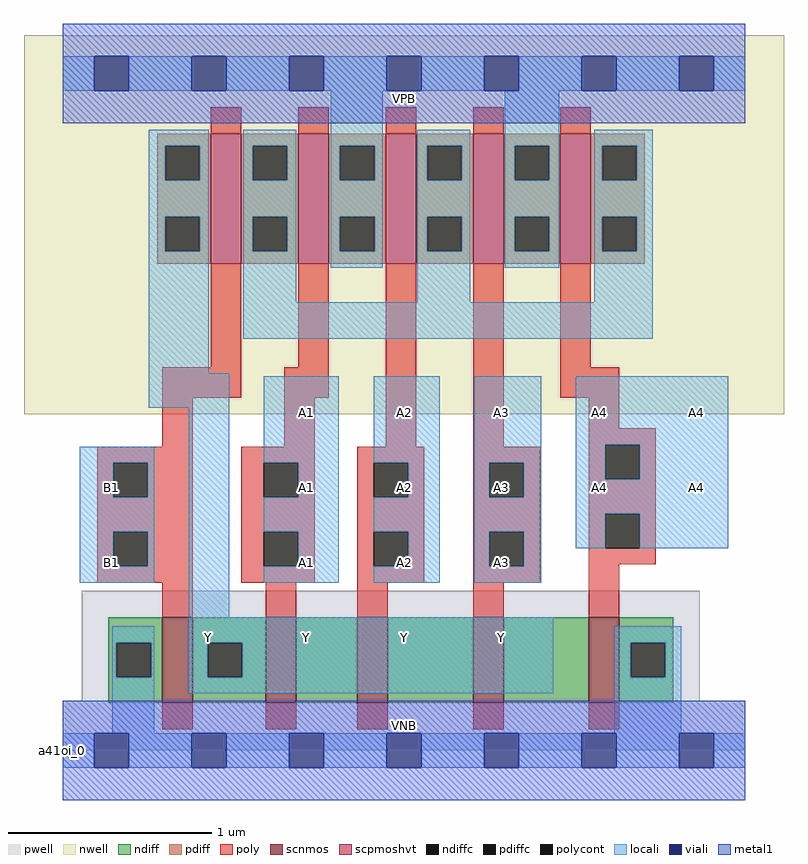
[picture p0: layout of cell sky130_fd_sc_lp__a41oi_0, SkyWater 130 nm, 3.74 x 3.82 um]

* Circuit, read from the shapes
.subckt sky130_fd_sc_lp__a41oi_0 A1 A2 A3 A4 B1 VGND VNB VPB VPWR Y
XM1 Y B1 VGND VNB sky130_fd_pr__nfet_01v8 w=0.42 l=0.15
XM2 n1 A1 Y VNB sky130_fd_pr__nfet_01v8 w=0.42 l=0.15
XM3 n2 A2 n1 VNB sky130_fd_pr__nfet_01v8 w=0.42 l=0.15
XM4 n3 A3 n2 VNB sky130_fd_pr__nfet_01v8 w=0.42 l=0.15
XM5 VGND A4 n3 VNB sky130_fd_pr__nfet_01v8 w=0.42 l=0.15
XM6 n4 B1 Y VPB sky130_fd_pr__pfet_01v8_hvt w=0.64 l=0.15
XM7 VPWR A1 n4 VPB sky130_fd_pr__pfet_01v8_hvt w=0.64 l=0.15
XM8 n4 A2 VPWR VPB sky130_fd_pr__pfet_01v8_hvt w=0.64 l=0.15
XM9 VPWR A3 n4 VPB sky130_fd_pr__pfet_01v8_hvt w=0.64 l=0.15
XM10 n4 A4 VPWR VPB sky130_fd_pr__pfet_01v8_hvt w=0.64 l=0.15
.ends

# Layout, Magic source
magic
tech sky130A
magscale 1 2
<< nwell >>
rect -38 331 710 704
<< pwell >>
rect 19 49 627 157
rect 0 0 672 49
<< scnmos >>
rect 98 47 128 131
rect 200 47 230 131
rect 290 47 320 131
rect 404 47 434 131
rect 518 47 548 131
<< scpmoshvt >>
rect 146 479 176 607
rect 232 479 262 607
rect 318 479 348 607
rect 404 479 434 607
rect 490 479 520 607
<< ndiff >>
rect 45 106 98 131
rect 45 72 53 106
rect 87 72 98 106
rect 45 47 98 72
rect 128 106 200 131
rect 128 72 143 106
rect 177 72 200 106
rect 128 47 200 72
rect 230 47 290 131
rect 320 47 404 131
rect 434 47 518 131
rect 548 106 601 131
rect 548 72 559 106
rect 593 72 601 106
rect 548 47 601 72
<< pdiff >>
rect 93 595 146 607
rect 93 561 101 595
rect 135 561 146 595
rect 93 525 146 561
rect 93 491 101 525
rect 135 491 146 525
rect 93 479 146 491
rect 176 595 232 607
rect 176 561 187 595
rect 221 561 232 595
rect 176 525 232 561
rect 176 491 187 525
rect 221 491 232 525
rect 176 479 232 491
rect 262 595 318 607
rect 262 561 273 595
rect 307 561 318 595
rect 262 525 318 561
rect 262 491 273 525
rect 307 491 318 525
rect 262 479 318 491
rect 348 595 404 607
rect 348 561 359 595
rect 393 561 404 595
rect 348 525 404 561
rect 348 491 359 525
rect 393 491 404 525
rect 348 479 404 491
rect 434 595 490 607
rect 434 561 445 595
rect 479 561 490 595
rect 434 525 490 561
rect 434 491 445 525
rect 479 491 490 525
rect 434 479 490 491
rect 520 595 573 607
rect 520 561 531 595
rect 565 561 573 595
rect 520 525 573 561
rect 520 491 531 525
rect 565 491 573 525
rect 520 479 573 491
<< ndiffc >>
rect 53 72 87 106
rect 143 72 177 106
rect 559 72 593 106
<< pdiffc >>
rect 101 561 135 595
rect 101 491 135 525
rect 187 561 221 595
rect 187 491 221 525
rect 273 561 307 595
rect 273 491 307 525
rect 359 561 393 595
rect 359 491 393 525
rect 445 561 479 595
rect 445 491 479 525
rect 531 561 565 595
rect 531 491 565 525
<< poly >>
rect 146 607 176 633
rect 232 607 262 633
rect 318 607 348 633
rect 404 607 434 633
rect 490 607 520 633
rect 146 377 176 479
rect 232 377 262 479
rect 98 347 176 377
rect 218 347 262 377
rect 98 299 128 347
rect 218 299 248 347
rect 318 299 348 479
rect 404 299 434 479
rect 490 377 520 479
rect 490 347 548 377
rect 518 317 548 347
rect 518 301 584 317
rect 34 283 128 299
rect 34 249 50 283
rect 84 249 128 283
rect 34 215 128 249
rect 34 181 50 215
rect 84 181 128 215
rect 34 165 128 181
rect 176 283 248 299
rect 176 249 198 283
rect 232 249 248 283
rect 176 215 248 249
rect 176 181 198 215
rect 232 181 248 215
rect 176 165 248 181
rect 290 283 356 299
rect 290 249 306 283
rect 340 249 356 283
rect 290 215 356 249
rect 290 181 306 215
rect 340 181 356 215
rect 290 165 356 181
rect 404 283 470 299
rect 404 249 420 283
rect 454 249 470 283
rect 404 215 470 249
rect 404 181 420 215
rect 454 181 470 215
rect 404 165 470 181
rect 518 267 534 301
rect 568 267 584 301
rect 518 233 584 267
rect 518 199 534 233
rect 568 199 584 233
rect 518 183 584 199
rect 98 131 128 165
rect 200 131 230 165
rect 290 131 320 165
rect 404 131 434 165
rect 518 131 548 183
rect 98 21 128 47
rect 200 21 230 47
rect 290 21 320 47
rect 404 21 434 47
rect 518 21 548 47
<< polycont >>
rect 50 249 84 283
rect 50 181 84 215
rect 198 249 232 283
rect 198 181 232 215
rect 306 249 340 283
rect 306 181 340 215
rect 420 249 454 283
rect 420 181 454 215
rect 534 267 568 301
rect 534 199 568 233
<< locali >>
rect 0 649 31 683
rect 65 649 127 683
rect 161 649 223 683
rect 257 649 319 683
rect 353 649 415 683
rect 449 649 511 683
rect 545 649 607 683
rect 641 649 672 683
rect 85 595 144 611
rect 85 561 101 595
rect 135 561 144 595
rect 85 525 144 561
rect 85 491 101 525
rect 135 491 144 525
rect 85 371 144 491
rect 178 595 230 611
rect 178 561 187 595
rect 221 561 230 595
rect 178 525 230 561
rect 178 491 187 525
rect 221 491 230 525
rect 178 441 230 491
rect 264 595 315 649
rect 264 561 273 595
rect 307 561 315 595
rect 264 525 315 561
rect 264 491 273 525
rect 307 491 315 525
rect 264 475 315 491
rect 349 595 401 611
rect 349 561 359 595
rect 393 561 401 595
rect 349 525 401 561
rect 349 491 359 525
rect 393 491 401 525
rect 349 441 401 491
rect 435 595 489 649
rect 435 561 445 595
rect 479 561 489 595
rect 435 525 489 561
rect 435 491 445 525
rect 479 491 489 525
rect 435 475 489 491
rect 523 595 581 611
rect 523 561 531 595
rect 565 561 581 595
rect 523 525 581 561
rect 523 491 531 525
rect 565 491 581 525
rect 523 441 581 491
rect 178 405 581 441
rect 85 337 164 371
rect 17 283 90 299
rect 17 249 50 283
rect 84 249 90 283
rect 17 215 90 249
rect 17 181 50 215
rect 84 181 90 215
rect 17 165 90 181
rect 124 131 164 337
rect 198 283 272 368
rect 232 249 272 283
rect 198 215 272 249
rect 232 181 272 215
rect 198 165 272 181
rect 306 283 371 368
rect 340 249 371 283
rect 306 215 371 249
rect 340 181 371 215
rect 306 165 371 181
rect 405 283 471 368
rect 405 249 420 283
rect 454 249 471 283
rect 405 215 471 249
rect 405 181 420 215
rect 454 181 471 215
rect 505 301 655 368
rect 505 267 534 301
rect 568 267 655 301
rect 505 233 655 267
rect 505 199 534 233
rect 568 199 655 233
rect 405 165 471 181
rect 49 106 90 122
rect 49 72 53 106
rect 87 72 90 106
rect 49 17 90 72
rect 124 106 483 131
rect 124 72 143 106
rect 177 72 483 106
rect 124 56 483 72
rect 543 106 609 122
rect 543 72 559 106
rect 593 72 609 106
rect 543 17 609 72
rect 0 -17 31 17
rect 65 -17 127 17
rect 161 -17 223 17
rect 257 -17 319 17
rect 353 -17 415 17
rect 449 -17 511 17
rect 545 -17 607 17
rect 641 -17 672 17
<< viali >>
rect 31 649 65 683
rect 127 649 161 683
rect 223 649 257 683
rect 319 649 353 683
rect 415 649 449 683
rect 511 649 545 683
rect 607 649 641 683
rect 31 -17 65 17
rect 127 -17 161 17
rect 223 -17 257 17
rect 319 -17 353 17
rect 415 -17 449 17
rect 511 -17 545 17
rect 607 -17 641 17
<< metal1 >>
rect 0 683 672 715
rect 0 649 31 683
rect 65 649 127 683
rect 161 649 223 683
rect 257 649 319 683
rect 353 649 415 683
rect 449 649 511 683
rect 545 649 607 683
rect 641 649 672 683
rect 0 617 672 649
rect 0 17 672 49
rect 0 -17 31 17
rect 65 -17 127 17
rect 161 -17 223 17
rect 257 -17 319 17
rect 353 -17 415 17
rect 449 -17 511 17
rect 545 -17 607 17
rect 641 -17 672 17
rect 0 -49 672 -17
<< labels >>
flabel pwell s 0 0 672 49 0 FreeSans 200 0 0 0 VNB
port 7 nsew ground bidirectional
flabel nwell s 0 617 672 666 0 FreeSans 200 0 0 0 VPB
port 8 nsew power bidirectional
rlabel comment s 0 0 0 0 4 a41oi_0
flabel metal1 s 0 617 672 666 0 FreeSans 340 0 0 0 VPWR
port 9 nsew power bidirectional
flabel metal1 s 0 0 672 49 0 FreeSans 340 0 0 0 VGND
port 6 nsew ground bidirectional
flabel locali s 127 94 161 128 0 FreeSans 340 0 0 0 Y
port 10 nsew signal output
flabel locali s 223 94 257 128 0 FreeSans 340 0 0 0 Y
port 10 nsew signal output
flabel locali s 319 94 353 128 0 FreeSans 340 0 0 0 Y
port 10 nsew signal output
flabel locali s 415 94 449 128 0 FreeSans 340 0 0 0 Y
port 10 nsew signal output
flabel locali s 607 242 641 276 0 FreeSans 340 0 0 0 A4
port 4 nsew signal input
flabel locali s 319 168 353 202 0 FreeSans 340 0 0 0 A2
port 2 nsew signal input
flabel locali s 319 242 353 276 0 FreeSans 340 0 0 0 A2
port 2 nsew signal input
flabel locali s 415 168 449 202 0 FreeSans 340 0 0 0 A3
port 3 nsew signal input
flabel locali s 415 242 449 276 0 FreeSans 340 0 0 0 A3
port 3 nsew signal input
flabel locali s 511 242 545 276 0 FreeSans 340 0 0 0 A4
port 4 nsew signal input
flabel locali s 31 168 65 202 0 FreeSans 340 0 0 0 B1
port 5 nsew signal input
flabel locali s 31 242 65 276 0 FreeSans 340 0 0 0 B1
port 5 nsew signal input
flabel locali s 223 168 257 202 0 FreeSans 340 0 0 0 A1
port 1 nsew signal input
flabel locali s 223 242 257 276 0 FreeSans 340 0 0 0 A1
port 1 nsew signal input
flabel locali s 223 316 257 350 0 FreeSans 340 0 0 0 A1
port 1 nsew signal input
flabel locali s 319 316 353 350 0 FreeSans 340 0 0 0 A2
port 2 nsew signal input
flabel locali s 415 316 449 350 0 FreeSans 340 0 0 0 A3
port 3 nsew signal input
flabel locali s 511 316 545 350 0 FreeSans 340 0 0 0 A4
port 4 nsew signal input
flabel locali s 607 316 641 350 0 FreeSans 340 0 0 0 A4
port 4 nsew signal input
<< properties >>
string LEFsite unit
string LEFclass CORE
string FIXED_BBOX 0 0 672 666
string GDS_FILE $PDKPATH/libs.ref/sky130_fd_sc_lp/gds/sky130_fd_sc_lp.gds
string LEFsymmetry X Y R90
string GDS_END 1392164
string GDS_START 1384508
<< end >>
